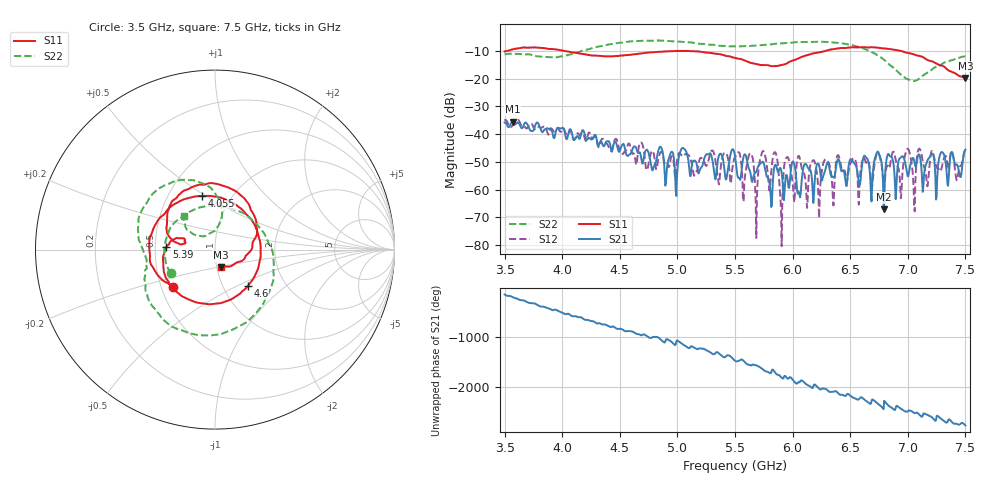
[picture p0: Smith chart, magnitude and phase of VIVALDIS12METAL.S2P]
!Agilent Technologies,E5071B,MY42403545,A.09.10
!Date: Thu Jul 11 05:24:51 2019
!Data & Calibration Information:
!Freq	S11:SOLT2(ON)	S21:SOLT2(ON)	S12:SOLT2(ON)	S22:SOLT2(ON)
# Hz S dB R 50
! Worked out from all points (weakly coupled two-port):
!   801 points, 3.5 GHz to 7.5 GHz, reference 50 ohm
!   highest |S21| = -35.47 dB at 3.57 GHz (marker M1); lowest = -67.2 dB at 6.79 GHz (marker M2)
!   lowest |S11| = -19.7 dB at 7.5 GHz (marker M3), VSWR 1.23, Z = 52.2 - j10.4 ohm
!   |S11| at or under -10 dB: 4.027 GHz to 4.964 GHz (936.9 MHz wide, 20.8 % of centre); 5.094 GHz to 6.279 GHz (1.185 GHz wide, 20.8 % of centre); 6.946 GHz to end of sweep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
!   |S22| runs from -20.8 to -6.2 dB; largest |S21 - S12| = 0.0045
!   S11 on the Smith chart (normalised r, x): 3.5 GHz: 0.58, -0.27; 4.055 GHz: 0.73, +0.48; 4.6 GHz: 1.31, -0.57; 5.39 GHz: 0.57, +0.02; 7.5 GHz: 1.04, -0.21
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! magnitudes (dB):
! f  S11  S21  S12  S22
! 3.5 GHz  -10.1  -35.8  -35.1  -11.2
! 3.57 GHz  -9.4  -35.5  -36.9  -11.0
! 4.055 GHz  -10.3  -39.6  -39.8  -11.4
! 4.17 GHz  -11.0  -39.0  -39.5  -9.9
! 4.6 GHz  -11.3  -46.7  -46.1  -6.5
! 4.835 GHz  -10.3  -45.8  -48.7  -6.2
! 5.39 GHz  -11.3  -48.1  -48.4  -8.1
! 5.5 GHz  -12.4  -48.0  -48.3  -8.3
! 5.58 GHz  -13.4  -47.4  -58.4  -8.2
! 5.64 GHz  -14.3  -55.5  -47.1  -8.1
! 5.685 GHz  -14.7  -53.6  -77.5  -8.0
! 5.735 GHz  -15.0  -50.1  -46.6  -7.9
! 5.85 GHz  -15.5  -51.0  -46.6  -7.4
! 5.9 GHz  -15.1  -52.8  -67.7  -7.3
! 5.95 GHz  -14.5  -54.9  -48.4  -7.0
! 6.12 GHz  -11.5  -51.1  -61.9  -6.7
! 6.17 GHz  -10.9  -57.6  -49.8  -6.7
! 6.23 GHz  -10.5  -51.3  -70.3  -6.6
! 6.74 GHz  -8.8  -46.3  -46.7  -11.7
! 6.79 GHz  -9.0  -67.2  -58.2  -13.0
! 6.835 GHz  -9.2  -47.3  -52.1  -14.7
! 7.5 GHz  -19.7  -45.6  -45.9  -11.9
